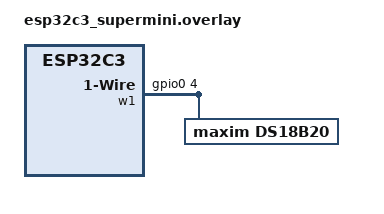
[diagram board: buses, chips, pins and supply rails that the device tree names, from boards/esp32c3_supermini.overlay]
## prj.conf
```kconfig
CONFIG_SENSOR=y
CONFIG_W1=y

CONFIG_LOG=y
CONFIG_SENSOR_LOG_LEVEL_DBG=y

# Enable 1-Wire Subsystem
CONFIG_W1=y

# Enable Sensor API and DS18B20 Driver
CONFIG_SENSOR=y
CONFIG_DS18B20=y

CONFIG_SENSOR=y

CONFIG_WIFI=y
CONFIG_WIFI_ESP32=y
CONFIG_NETWORKING=y
CONFIG_NET_IPV4=y
CONFIG_NET_DHCPV4=y

CONFIG_NET_SOCKETS=y
CONFIG_NET_TCP=y
CONFIG_MQTT_LIB=y

CONFIG_LOG_DEFAULT_LEVEL=3

CONFIG_MAIN_STACK_SIZE=8192
CONFIG_SYSTEM_WORKQUEUE_STACK_SIZE=4096
CONFIG_CBPRINTF_FP_SUPPORT=y
```

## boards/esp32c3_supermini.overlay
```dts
/ {
    w1: w1 {
        compatible = "zephyr,w1-gpio";
        gpios = <&gpio0 4 (GPIO_ACTIVE_HIGH | GPIO_OPEN_DRAIN)>;
    };
};

&w1 {
    ds18b20: ds18b20 {
        compatible = "maxim,ds18b20";
        status = "okay";
        family-code = <0x28>;
        resolution = <12>;
    };
};
```

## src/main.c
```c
#include <stdio.h>
#include <string.h>
#include <errno.h>
#include <stdbool.h>

#include <zephyr/kernel.h>
#include <zephyr/device.h>
#include <zephyr/devicetree.h>
#include <zephyr/drivers/sensor.h>

#include <zephyr/net/net_if.h>
#include <zephyr/net/net_ip.h>
#include <zephyr/net/wifi_mgmt.h>
#include <zephyr/net/mqtt.h>
#include <zephyr/net/socket.h>

#include <zephyr/logging/log.h>

LOG_MODULE_REGISTER(ds18b20_mqtt, LOG_LEVEL_INF);


/*
 * --------------------------------------------------------------------------
 * Configuration
 * --------------------------------------------------------------------------
 */

#define WIFI_SSID       "My SSID"
#define WIFI_PASSWORD   "WIFI PASSWORD"

#define MQTT_BROKER_IP  "my-mqtt-broker-ip"
#define MQTT_BROKER_PORT 1883

#define MQTT_CLIENT_ID  "esp32c3-ds18b20"
#define MQTT_TOPIC      "home/esp32c3/temperature"

#define MQTT_RX_BUFFER_SIZE 256
#define MQTT_TX_BUFFER_SIZE 256

#define TEMPERATURE_INTERVAL_SEC 10


/*
 * --------------------------------------------------------------------------
 * DS18B20
 * --------------------------------------------------------------------------
 */

#define DS18B20_NODE DT_NODELABEL(ds18b20)

#if !DT_NODE_EXISTS(DS18B20_NODE)
#error "No DS18B20 node found. Check your devicetree overlay."
#endif

static const struct device *const ds18b20 =
    DEVICE_DT_GET(DS18B20_NODE);


/*
 * --------------------------------------------------------------------------
 * MQTT
 * --------------------------------------------------------------------------
 */

static struct mqtt_client client;

static uint8_t rx_buffer[MQTT_RX_BUFFER_SIZE];
static uint8_t tx_buffer[MQTT_TX_BUFFER_SIZE];

static struct sockaddr_storage broker;

static bool mqtt_connected;


/*
 * --------------------------------------------------------------------------
 * MQTT callbacks
 * --------------------------------------------------------------------------
 */

static void mqtt_evt_handler(struct mqtt_client *const c,
                             const struct mqtt_evt *evt)
{
    ARG_UNUSED(c);

    switch (evt->type) {

    case MQTT_EVT_CONNACK:
        if (evt->result == 0) {
            LOG_INF("MQTT connected");
            mqtt_connected = true;
        } else {
            LOG_ERR("MQTT connection failed: %d", evt->result);
            mqtt_connected = false;
        }
        break;

    case MQTT_EVT_DISCONNECT:
        LOG_INF("MQTT disconnected: %d", evt->result);
        mqtt_connected = false;
        break;

    case MQTT_EVT_PUBLISH:
        LOG_INF("MQTT PUBLISH received");
        break;

    case MQTT_EVT_PUBACK:
        LOG_INF("MQTT PUBACK");
        break;

    default:
        break;
    }
}


/*
 * --------------------------------------------------------------------------
 * MQTT initialization
 * --------------------------------------------------------------------------
 */

static void setup_mqtt_client(void)
{
    mqtt_client_init(&client);

    client.broker = &broker;

    client.evt_cb = mqtt_evt_handler;

    client.client_id.utf8 = (uint8_t *)MQTT_CLIENT_ID;
    client.client_id.size = strlen(MQTT_CLIENT_ID);

    client.password = NULL;
    client.user_name = NULL;

    client.protocol_version = MQTT_VERSION_3_1_1;

    client.rx_buf = rx_buffer;
    client.rx_buf_size = sizeof(rx_buffer);

    client.tx_buf = tx_buffer;
    client.tx_buf_size = sizeof(tx_buffer);

    client.transport.type = MQTT_TRANSPORT_NON_SECURE;
}


/*
 * --------------------------------------------------------------------------
 * MQTT connect
 * --------------------------------------------------------------------------
 */

static int mqtt_connect_broker(void)
{
    int ret;
    struct sockaddr_in *broker4;

    broker4 = (struct sockaddr_in *)&broker;

    memset(&broker, 0, sizeof(broker));

    broker4->sin_family = AF_INET;
    broker4->sin_port = htons(MQTT_BROKER_PORT);

    ret = zsock_inet_pton(AF_INET,
                          MQTT_BROKER_IP,
                          &broker4->sin_addr);

    if (ret != 1) {
        LOG_ERR("Invalid MQTT broker address: %s",
                MQTT_BROKER_IP);
        return -EINVAL;
    }

    setup_mqtt_client();

    LOG_INF("Connecting to MQTT broker %s:%d",
            MQTT_BROKER_IP,
            MQTT_BROKER_PORT);

    ret = mqtt_connect(&client);

    if (ret < 0) {
        LOG_ERR("mqtt_connect failed: %d", ret);
        return ret;
    }

    return 0;
}


/*
 * --------------------------------------------------------------------------
 * MQTT publish temperature
 * --------------------------------------------------------------------------
 */

static int mqtt_publish_temperature(const struct sensor_value *temperature)
{
    struct mqtt_publish_param param;
    static uint8_t payload[64];

    int len;

    if (!mqtt_connected) {
        LOG_WRN("MQTT not connected");
        return -ENOTCONN;
    }

    /*
     * Publish JSON:
     *
     * {"temperature":23.625000}
     */

    len = snprintk(payload,
                   sizeof(payload),
                   "{\"temperature\":%d.%06d}",
                   temperature->val1,
                   temperature->val2);

    if (len < 0 || len >= sizeof(payload)) {
        LOG_ERR("Temperature payload too large");
        return -ENOMEM;
    }

    memset(&param, 0, sizeof(param));

    param.message.topic.qos = MQTT_QOS_0_AT_MOST_ONCE;

    param.message.topic.topic.utf8 =
        (uint8_t *)MQTT_TOPIC;

    param.message.topic.topic.size =
        strlen(MQTT_TOPIC);

    param.message.payload.data = payload;
    param.message.payload.len = len;

    param.message_id = 1;
    param.dup_flag = 0;
    param.retain_flag = 0;

    LOG_INF("MQTT temperature: %s", payload);

    return mqtt_publish(&client, &param);
}


/*
 * --------------------------------------------------------------------------
 * Wi-Fi
 * --------------------------------------------------------------------------
 */

static int wifi_connect(void)
{
    struct wifi_connect_req_params params = { 0 };
    struct net_if *iface;
    int ret;

    iface = net_if_get_default();

    if (iface == NULL) {
        LOG_ERR("No default network interface");
        return -ENODEV;
    }

    params.ssid = (const uint8_t *)WIFI_SSID;
    params.ssid_length = strlen(WIFI_SSID);

    params.psk = (const uint8_t *)WIFI_PASSWORD;
    params.psk_length = strlen(WIFI_PASSWORD);

    params.channel = WIFI_CHANNEL_ANY;
    params.security = WIFI_SECURITY_TYPE_PSK;

    ret = net_mgmt(NET_REQUEST_WIFI_CONNECT,
                   iface,
                   &params,
                   sizeof(params));

    if (ret < 0) {
        LOG_ERR("Wi-Fi connect failed: %d", ret);
        return ret;
    }

    LOG_INF("Wi-Fi connection requested");

    return 0;
}


/*
 * --------------------------------------------------------------------------
 * Wait for IPv4 address
 * --------------------------------------------------------------------------
 */

static int wait_for_network(void)
{
    struct net_if *iface;

    LOG_INF("Waiting for network...");

    while (true) {

        struct net_in_addr *addr;

        iface = net_if_get_default();

        if (iface != NULL && net_if_is_up(iface)) {

            addr = net_if_ipv4_get_global_addr(
                iface,
                NET_ADDR_PREFERRED);

            if (addr != NULL) {
                LOG_INF("IPv4 address acquired");
                return 0;
            }
        }

        k_sleep(K_SECONDS(1));
    }
}


/*
 * --------------------------------------------------------------------------
 * Read DS18B20
 * --------------------------------------------------------------------------
 */

static int read_temperature(struct sensor_value *temperature)
{
    int ret;

    ret = sensor_sample_fetch(ds18b20);

    if (ret < 0) {
        LOG_ERR("DS18B20 sample fetch failed: %d", ret);
        return ret;
    }

    ret = sensor_channel_get(ds18b20,
                             SENSOR_CHAN_AMBIENT_TEMP,
                             temperature);

    if (ret < 0) {
        LOG_ERR("DS18B20 temperature read failed: %d", ret);
        return ret;
    }

    return 0;
}


/*
 * --------------------------------------------------------------------------
 * Main
 * --------------------------------------------------------------------------
 */

int main(void)
{
    int ret;
    struct sensor_value temperature;

    LOG_INF("ESP32-C3 DS18B20 MQTT");

    /*
     * DS18B20
     */

    if (!device_is_ready(ds18b20)) {
        LOG_ERR("DS18B20 device not ready");
        return 0;
    }

    LOG_INF("DS18B20 device ready: %s", ds18b20->name);


    /*
     * Wi-Fi
     */

    ret = wifi_connect();

    if (ret < 0) {
        LOG_ERR("Wi-Fi connection request failed");
        return 0;
    }


    /*
     * DHCP / IPv4
     */

    ret = wait_for_network();

    if (ret < 0) {
        LOG_ERR("Network initialization failed");
        return 0;
    }


    /*
     * MQTT
     */

    ret = mqtt_connect_broker();

    if (ret < 0) {
        LOG_ERR("MQTT connection failed");
        return 0;
    }


    /*
     * Main loop
     */

    while (true) {

        /*
         * Process MQTT traffic.
         */

        ret = mqtt_input(&client);

        if (ret < 0) {
            LOG_ERR("mqtt_input: %d", ret);
            mqtt_connected = false;
            break;
        }

        ret = mqtt_live(&client);

        if (ret < 0 && ret != -EAGAIN) {
            LOG_ERR("mqtt_live: %d", ret);
            mqtt_connected = false;
            break;
        }


        /*
         * Read DS18B20.
         */

        ret = read_temperature(&temperature);

        if (ret == 0) {

            LOG_INF("Temperature: %d.%06d °C",
                    temperature.val1,
                    temperature.val2);

            /*
             * Publish temperature.
             */

            ret = mqtt_publish_temperature(&temperature);

            if (ret < 0) {
                LOG_ERR("MQTT temperature publish failed: %d",
                        ret);
            }
        }


        k_sleep(K_SECONDS(TEMPERATURE_INTERVAL_SEC));
    }

    return 0;
}
```
